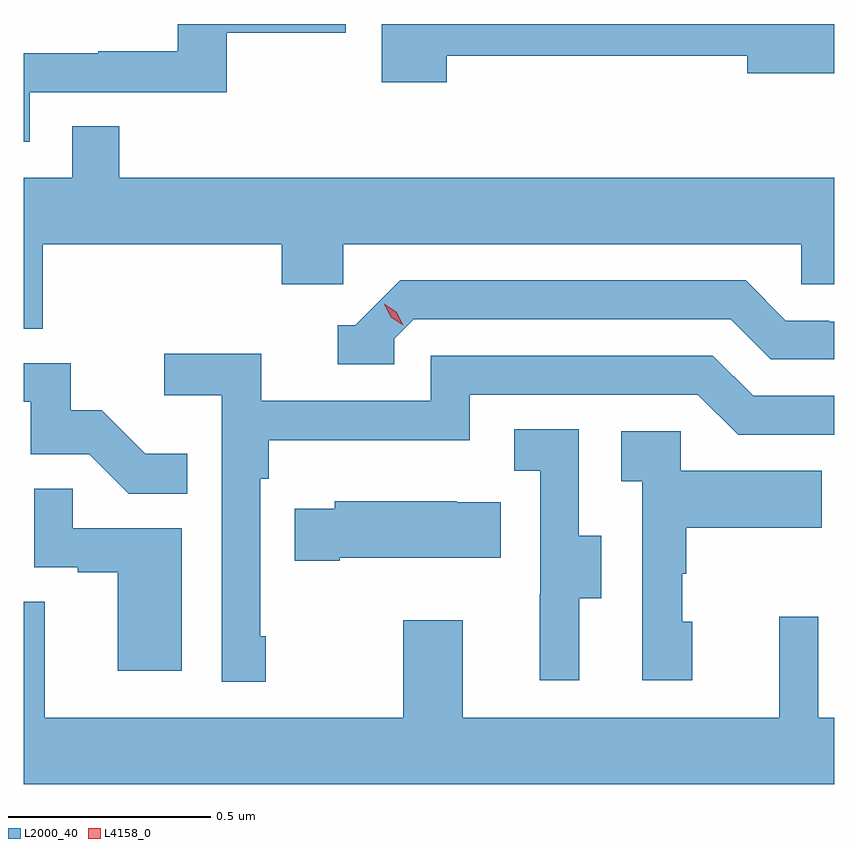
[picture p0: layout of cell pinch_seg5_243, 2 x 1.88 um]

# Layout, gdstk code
import gdstk
lib = gdstk.Library(unit=1e-6, precision=1e-09)
def P(c, l, *ps):  # polygons
    for p in ps: c.add(gdstk.Polygon(p, *l))
L2000_40 = (2000, 40)
L4158_0 = (4158, 0)

pinch_seg5_243 = lib.new_cell('pinch_seg5_243')
P(pinch_seg5_243, L2000_40, [(968.988,895.764),(969.475,895.764),(969.475,895.911),(969.768,895.911),(969.768,895.932),(969.354,895.932),(969.354,895.865),(969.157,895.865),(969.157,895.86),(968.974,895.86),(968.974,895.641),(968.988,895.641)],
  [(970.018,895.854),(970.76,895.854),(970.76,895.811),(970.974,895.811),(970.974,895.932),(969.857,895.932),(969.857,895.788),(970.018,895.788)],
  [(969.02,895.388),(969.611,895.388),(969.611,895.29),(969.762,895.29),(969.762,895.388),(970.893,895.388),(970.893,895.29),(970.974,895.29),(970.974,895.552),(969.209,895.552),(969.209,895.679),(969.093,895.679),(969.093,895.552),(968.974,895.552),(968.974,895.18),(969.02,895.18)],
  [(969.888,895.155),(969.936,895.203),(970.719,895.203),(970.818,895.104),(970.974,895.104),(970.974,895.197),(970.962,895.197),(970.962,895.2),(970.855,895.2),(970.756,895.299),(969.903,895.299),(969.792,895.188),(969.749,895.188),(969.749,895.092),(969.888,895.092)],
  [(969.571,894.421),(969.558,894.421),(969.558,894.809),(969.578,894.809),(969.578,894.905),(970.074,894.905),(970.074,895.017),(970.638,895.017),(970.737,894.918),(970.974,894.918),(970.974,895.014),(970.774,895.014),(970.675,895.113),(969.978,895.113),(969.978,895.002),(969.56,895.002),(969.56,895.118),(969.321,895.118),(969.321,895.016),(969.462,895.016),(969.462,894.309),(969.571,894.309)],
  [(969.377,894.871),(969.273,894.871),(969.166,894.978),(969.09,894.978),(969.09,895.095),(968.974,895.095),(968.974,894.999),(968.991,894.999),(968.991,894.87),(969.135,894.87),(969.233,894.772),(969.377,894.772)],
  [(970.345,894.514),(970.399,894.514),(970.399,894.669),(970.344,894.669),(970.344,894.932),(970.185,894.932),(970.185,894.829),(970.248,894.829),(970.248,894.525),(970.247,894.525),(970.247,894.312),(970.345,894.312)],
  [(970.624,894.456),(970.599,894.456),(970.599,894.575),(970.609,894.575),(970.609,894.689),(970.943,894.689),(970.943,894.829),(970.596,894.829),(970.596,894.927),(970.449,894.927),(970.449,894.803),(970.5,894.803),(970.5,894.312),(970.624,894.312)],
  [(969.364,894.687),(969.095,894.687),(969.095,894.785),(969,894.785),(969,894.591),(969.107,894.591),(969.107,894.579),(969.206,894.579),(969.206,894.336),(969.364,894.336)],
  [(969.754,894.614),(970.151,894.614),(970.151,894.751),(970.043,894.751),(970.043,894.754),(969.741,894.754),(969.741,894.736),(969.643,894.736),(969.643,894.607),(969.754,894.607)],
  [(970.974,894.22),(970.935,894.22),(970.935,894.469),(970.838,894.469),(970.838,894.22),(970.057,894.22),(970.057,894.46),(969.91,894.46),(969.91,894.22),(969.025,894.22),(969.025,894.506),(968.974,894.506),(968.974,894.056),(970.974,894.056)])
P(pinch_seg5_243, L4158_0, [(969.911,895.188),(969.88,895.208),(969.864,895.24),(969.864,895.241),(969.864,895.241),(969.895,895.221),(969.911,895.188),(969.911,895.188)])

lib.write_gds('pinch_seg5_243.gds')
